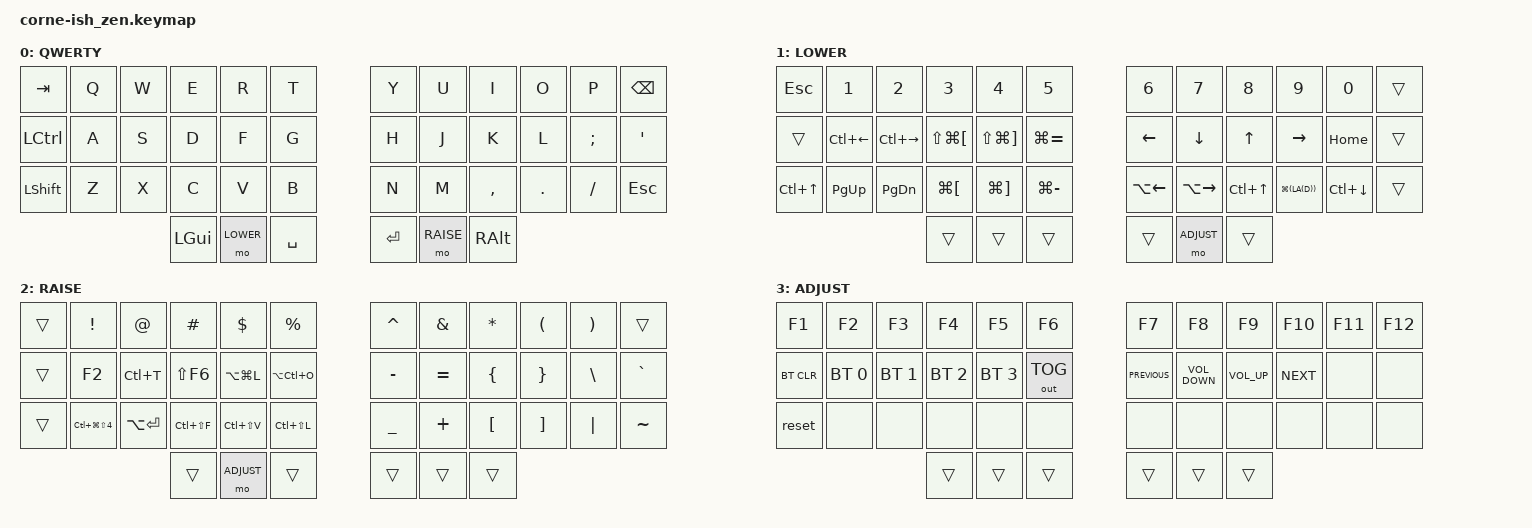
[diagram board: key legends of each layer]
/*
*
* Copyright (c) 2021 lowprokb.ca
* SPDX-License-Identifier: MIT
*
*/

#include <behaviors.dtsi>
#include <dt-bindings/zmk/keys.h>
#include <dt-bindings/zmk/bt.h>
#include <dt-bindings/zmk/outputs.h>

#define QWERTY 0
#define LOWER 1
#define RAISE 2
#define ADJUST 3


/* Shortcuts */
#define _SCREEN_SHOT LC(LG(LS(N4)))
#define _ZOOM_IN LG(EQUAL)
#define _ZOOM_OUT LG(MINUS)


/* Intellij */
#define _QUICK_FIX LA(ENTER)
#define _DUXO LC(LS(D))
#define _ACTION LG(LS(A)) 
#define _FRAGMENT LC(LS(F)) // go to fragment
#define _VIEW_STATE LC(LS(V)) // go to view state
#define _GT_LAYOUT LC(LS(L)) // go to layout
#define _IMPORT LA(LC(O)) // optimize import
#define _FORMAT LA(LG(L)) // format file
#define _RENAME LS(F6)
#define _REFACTOR LC(T)

/* navigation */
#define _MISSION_CONTROL LC(UP)
#define _ALFRED LA(SPACE)
#define _TOGGLE_DOCK LG((LA(D)))
#define _DESKTOP LC(DOWN)
#define _LEFT_SPACE LC(LEFT)
#define _RIGHT_SPACE LC(RIGHT)
#define _LEFT_TAB LS(LG(LEFT_BRACKET))
#define _RIGHT_TAB LS(LG(RIGHT_BRACKET))
#define _BROWSER_BACK LG(LEFT_BRACKET)
#define _BROWSER_FORWARD LG(RIGHT_BRACKET)
#define _LEFT_WORD LA(LEFT)
#define _RIGHT_WORD LA(RIGHT)


/ {
  chosen {
    zmk,matrix_transform = &default_transform;
    //zmk,matrix_transform = &five_column_transform;
  };
};

/ {
        keymap {
                compatible = "zmk,keymap";

                default_layer {
                        label = "QWERTY";
                        bindings = <
   &kp TAB   &kp Q &kp W &kp E &kp R &kp T    &kp Y &kp U &kp I    &kp O   &kp P         &kp BKSP
   &kp LCTL  &kp A &kp S &kp D &kp F &kp G    &kp H &kp J &kp K    &kp L   &kp SEMICOLON &kp QUOT
   &kp LSHFT &kp Z &kp X &kp C &kp V &kp B    &kp N &kp M &kp CMMA &kp DOT &kp FSLH      &kp ESC
              &kp LGUI &mo LOWER &kp SPC       &kp ENTER &mo RAISE &kp RALT
                        >;
                };
                lower_layer {
                        label = "LOWER";
                        bindings = <
   &kp ESC  &kp N1               &kp N2           &kp N3                 &kp N4                  &kp N5                 &kp N6           &kp N7          &kp N8                  &kp  N9          &kp N0         &trans
   &trans  &kp _LEFT_SPACE      &kp _RIGHT_SPACE &kp _LEFT_TAB          &kp _RIGHT_TAB          &kp _ZOOM_IN           &kp LEFT         &kp DOWN        &kp UP                  &kp RIGHT        &kp HOME       &trans
   &kp _MISSION_CONTROL  &kp PAGE_UP          &kp PAGE_DOWN    &kp _BROWSER_BACK      &kp _BROWSER_FORWARD    &kp _ZOOM_OUT          &kp _LEFT_WORD   &kp _RIGHT_WORD &kp _MISSION_CONTROL    &kp _TOGGLE_DOCK &kp _DESKTOP   &trans
               &trans &trans &trans   &trans &mo ADJUST &trans 
                        >;
                };
                raise_layer {
                        label = "RAISE";
                        bindings = <
   &trans  &kp EXCL             &kp AT                  &kp HASH        &kp DLLR        &kp PRCNT                 &kp CARET &kp AMPS  &kp ASTRK &kp LPAR   &kp RPAR   &trans
   &trans  &kp F2               &kp _REFACTOR           &kp _RENAME     &kp _FORMAT     &kp _IMPORT               &kp MINUS &kp EQUAL &kp LBRC  &kp RBRC   &kp BSLH   &kp GRAVE
   &trans  &kp _SCREEN_SHOT     &kp _QUICK_FIX          &kp _FRAGMENT   &kp _VIEW_STATE &kp _GT_LAYOUT            &kp UNDER &kp PLUS  &kp LBKT  &kp RBKT   &kp PIPE   &kp TILDE
                        &trans  &mo ADJUST &trans    &trans  &trans  &trans 
                        >;
                };
                adjust_layer {
                        label = "ADJUST";
                        bindings = <
   &kp F1       &kp F2          &kp F3          &kp F4          &kp F5          &kp F6                &kp F7            &kp F8                  &kp F9          &kp F10         &kp F11 &kp F12
   &bt BT_CLR   &bt BT_SEL 0    &bt BT_SEL 1    &bt BT_SEL 2    &bt BT_SEL 3    &out OUT_TOG          &kp C_PREVIOUS    &kp C_VOLUME_DOWN       &kp C_VOLUME_UP &kp C_NEXT      &none   &none
   &reset       &none           &none           &none           &none           &none                 &none             &none                   &none           &none           &none   &none
                           &trans  &trans  &trans    &trans  &trans  &trans 
                        >;
                };
        };
};
